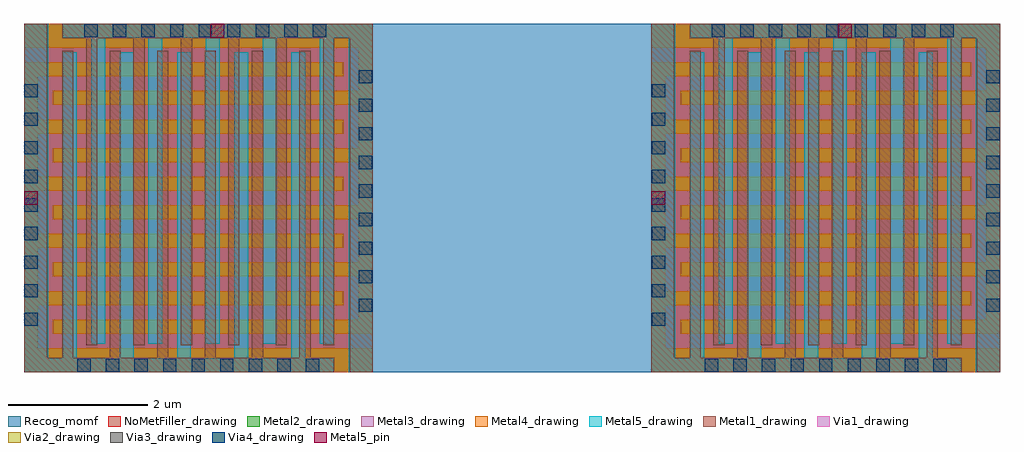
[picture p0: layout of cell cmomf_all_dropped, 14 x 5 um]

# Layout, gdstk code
import gdstk
lib = gdstk.Library(unit=1e-6, precision=1e-09)
def R(c, l, rs):  # rectangles x0, y0, x1, y1
    for r in rs: c.add(gdstk.rectangle(r[:2], r[2:], *l))
def A(c, l, x, y, w, h, nx, ny, dx, dy):  # array of equal rectangles
    R(c, l, [(x+i*dx, y+j*dy, x+i*dx+w, y+j*dy+h) for i in range(nx) for j in range(ny)])
Metal1_drawing = (8, 0)
Metal2_drawing = (10, 0)
Via1_drawing = (19, 0)
Via2_drawing = (29, 0)
Metal3_drawing = (30, 0)
Via3_drawing = (49, 0)
Metal4_drawing = (50, 0)
Via4_drawing = (66, 0)
Metal5_drawing = (67, 0)
Metal5_pin = (67, 2)
Recog_momf = (99, 40)
NoMetFiller_drawing = (160, 0)

cmomf_all_dropped = lib.new_cell('cmomf_all_dropped')
A(cmomf_all_dropped, Metal1_drawing, 0.55, 0, 0.16, 4.61, 6, 1, 0.68, 0)
A(cmomf_all_dropped, Metal1_drawing, 9.55, 0, 0.16, 4.61, 6, 1, 0.68, 0)
A(cmomf_all_dropped, Metal1_drawing, 0.89, 0.39, 0.16, 4.61, 6, 1, 0.68, 0)
A(cmomf_all_dropped, Metal1_drawing, 9.89, 0.39, 0.16, 4.61, 6, 1, 0.68, 0)
R(cmomf_all_dropped, Metal1_drawing, [(0,0,0.33,5), (0,0,4.45,0.21), (4.67,0,5,5), (9,0,9.33,5), (9,0,13.45,0.21), (13.67,0,14,5), (0.55,4.79,5,5), (9.55,4.79,14,5)])
A(cmomf_all_dropped, Metal2_drawing, 0.42, 0.555, 4.58, 0.2, 1, 5, 0, 0.82)
A(cmomf_all_dropped, Metal2_drawing, 9.42, 0.555, 4.58, 0.2, 1, 5, 0, 0.82)
A(cmomf_all_dropped, Metal2_drawing, 0, 0.965, 4.58, 0.2, 1, 5, 0, 0.82)
A(cmomf_all_dropped, Metal2_drawing, 9, 0.965, 4.58, 0.2, 1, 5, 0, 0.82)
R(cmomf_all_dropped, Metal2_drawing, [(0,0,5,0.345), (0,0,0.205,4.445), (9,0,14,0.345), (9,0,9.205,4.445), (4.795,0.555,5,5), (13.795,0.555,14,5), (0,4.655,5,5), (9,4.655,14,5)])
A(cmomf_all_dropped, Via1_drawing, 0.765, 0.01, 0.19, 0.19, 9, 1, 0.41, 0)
A(cmomf_all_dropped, Via1_drawing, 9.765, 0.01, 0.19, 0.19, 9, 1, 0.41, 0)
A(cmomf_all_dropped, Via1_drawing, 0.01, 0.665, 0.19, 0.19, 1, 9, 0, 0.41)
A(cmomf_all_dropped, Via1_drawing, 9.01, 0.665, 0.19, 0.19, 1, 9, 0, 0.41)
A(cmomf_all_dropped, Via1_drawing, 4.8, 0.865, 0.19, 0.19, 1, 9, 0, 0.41)
A(cmomf_all_dropped, Via1_drawing, 13.8, 0.865, 0.19, 0.19, 1, 9, 0, 0.41)
A(cmomf_all_dropped, Via1_drawing, 0.865, 4.8, 0.19, 0.19, 9, 1, 0.41, 0)
A(cmomf_all_dropped, Via1_drawing, 9.865, 4.8, 0.19, 0.19, 9, 1, 0.41, 0)
A(cmomf_all_dropped, Via2_drawing, 0.765, 0.005, 0.19, 0.19, 9, 1, 0.41, 0)
A(cmomf_all_dropped, Via2_drawing, 9.765, 0.005, 0.19, 0.19, 9, 1, 0.41, 0)
A(cmomf_all_dropped, Via2_drawing, 0.005, 0.665, 0.19, 0.19, 1, 9, 0, 0.41)
A(cmomf_all_dropped, Via2_drawing, 9.005, 0.665, 0.19, 0.19, 1, 9, 0, 0.41)
A(cmomf_all_dropped, Via2_drawing, 4.805, 0.865, 0.19, 0.19, 1, 9, 0, 0.41)
A(cmomf_all_dropped, Via2_drawing, 13.805, 0.865, 0.19, 0.19, 1, 9, 0, 0.41)
A(cmomf_all_dropped, Via2_drawing, 0.865, 4.805, 0.19, 0.19, 9, 1, 0.41, 0)
A(cmomf_all_dropped, Via2_drawing, 9.865, 4.805, 0.19, 0.19, 9, 1, 0.41, 0)
A(cmomf_all_dropped, Metal3_drawing, 0.555, 0, 0.2, 4.59, 5, 1, 0.82, 0)
A(cmomf_all_dropped, Metal3_drawing, 9.555, 0, 0.2, 4.59, 5, 1, 0.82, 0)
A(cmomf_all_dropped, Metal3_drawing, 0.965, 0.41, 0.2, 4.59, 5, 1, 0.82, 0)
A(cmomf_all_dropped, Metal3_drawing, 9.965, 0.41, 0.2, 4.59, 5, 1, 0.82, 0)
R(cmomf_all_dropped, Metal3_drawing, [(0,0,0.345,5), (0,0,4.445,0.2), (4.655,0,5,5), (9,0,9.345,5), (9,0,13.445,0.2), (13.655,0,14,5), (0.555,4.8,5,5), (9.555,4.8,14,5)])
A(cmomf_all_dropped, Via3_drawing, 0.765, 0.005, 0.19, 0.19, 9, 1, 0.41, 0)
A(cmomf_all_dropped, Via3_drawing, 9.765, 0.005, 0.19, 0.19, 9, 1, 0.41, 0)
A(cmomf_all_dropped, Via3_drawing, 0.005, 0.665, 0.19, 0.19, 1, 9, 0, 0.41)
A(cmomf_all_dropped, Via3_drawing, 9.005, 0.665, 0.19, 0.19, 1, 9, 0, 0.41)
A(cmomf_all_dropped, Via3_drawing, 4.805, 0.865, 0.19, 0.19, 1, 9, 0, 0.41)
A(cmomf_all_dropped, Via3_drawing, 13.805, 0.865, 0.19, 0.19, 1, 9, 0, 0.41)
A(cmomf_all_dropped, Via3_drawing, 0.865, 4.805, 0.19, 0.19, 9, 1, 0.41, 0)
A(cmomf_all_dropped, Via3_drawing, 9.865, 4.805, 0.19, 0.19, 9, 1, 0.41, 0)
A(cmomf_all_dropped, Metal4_drawing, 0.41, 0.555, 4.59, 0.2, 1, 5, 0, 0.82)
A(cmomf_all_dropped, Metal4_drawing, 9.41, 0.555, 4.59, 0.2, 1, 5, 0, 0.82)
A(cmomf_all_dropped, Metal4_drawing, 0, 0.965, 4.59, 0.2, 1, 5, 0, 0.82)
A(cmomf_all_dropped, Metal4_drawing, 9, 0.965, 4.59, 0.2, 1, 5, 0, 0.82)
R(cmomf_all_dropped, Metal4_drawing, [(0,0,5,0.345), (0,0,0.2,4.445), (9,0,14,0.345), (9,0,9.2,4.445), (4.8,0.555,5,5), (13.8,0.555,14,5), (0,4.655,5,5), (9,4.655,14,5)])
A(cmomf_all_dropped, Via4_drawing, 0.765, 0.005, 0.19, 0.19, 9, 1, 0.41, 0)
A(cmomf_all_dropped, Via4_drawing, 9.765, 0.005, 0.19, 0.19, 9, 1, 0.41, 0)
A(cmomf_all_dropped, Via4_drawing, 0.005, 0.665, 0.19, 0.19, 1, 9, 0, 0.41)
A(cmomf_all_dropped, Via4_drawing, 9.005, 0.665, 0.19, 0.19, 1, 9, 0, 0.41)
A(cmomf_all_dropped, Via4_drawing, 4.805, 0.865, 0.19, 0.19, 1, 9, 0, 0.41)
A(cmomf_all_dropped, Via4_drawing, 13.805, 0.865, 0.19, 0.19, 1, 9, 0, 0.41)
A(cmomf_all_dropped, Via4_drawing, 0.865, 4.805, 0.19, 0.19, 9, 1, 0.41, 0)
A(cmomf_all_dropped, Via4_drawing, 9.865, 4.805, 0.19, 0.19, 9, 1, 0.41, 0)
A(cmomf_all_dropped, Metal5_drawing, 0.555, 0, 0.2, 4.59, 5, 1, 0.82, 0)
A(cmomf_all_dropped, Metal5_drawing, 9.555, 0, 0.2, 4.59, 5, 1, 0.82, 0)
A(cmomf_all_dropped, Metal5_drawing, 0.965, 0.41, 0.2, 4.59, 5, 1, 0.82, 0)
A(cmomf_all_dropped, Metal5_drawing, 9.965, 0.41, 0.2, 4.59, 5, 1, 0.82, 0)
R(cmomf_all_dropped, Metal5_drawing, [(0,0,0.345,5), (0,0,4.445,0.2), (4.655,0,5,5), (9,0,9.345,5), (9,0,13.445,0.2), (13.655,0,14,5), (0.555,4.8,5,5), (9.555,4.8,14,5)])
R(cmomf_all_dropped, Metal5_pin, [(0,2.4,0.2,2.6), (9,2.4,9.2,2.6), (2.675,4.8,2.875,5), (11.675,4.8,11.875,5)])
R(cmomf_all_dropped, Recog_momf, [(0,0,5,5), (4.9,0,9.1,5), (9,0,14,5)])
R(cmomf_all_dropped, NoMetFiller_drawing, [(0,0,5,5), (9,0,14,5)])
cmomf_all_dropped.add(gdstk.Label('cap_cmomf C=39.800fF', (0,-0.5), layer=63, texttype=0))
cmomf_all_dropped.add(gdstk.Label('cap_cmomf C=39.800fF', (9,-0.5), layer=63, texttype=0))

lib.write_gds('cmomf_all_dropped.gds')
